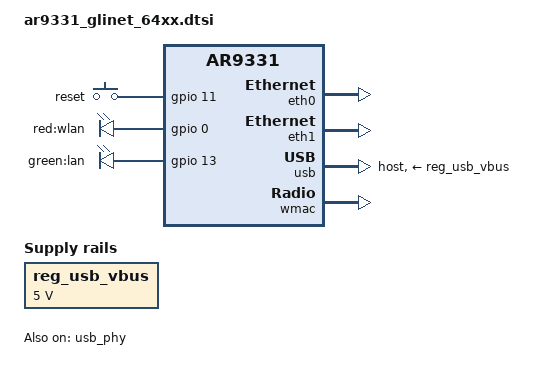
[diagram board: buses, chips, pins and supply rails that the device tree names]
// SPDX-License-Identifier: GPL-2.0-or-later OR MIT

#include "ar9331.dtsi"

#include <dt-bindings/gpio/gpio.h>
#include <dt-bindings/input/input.h>

/ {
	aliases {
		label-mac-device = &wmac;
	};

	keys {
		compatible = "gpio-keys";

		reset {
			label = "reset";
			linux,code = <KEY_RESTART>;
			gpios = <&gpio 11 GPIO_ACTIVE_HIGH>;
			debounce-interval = <60>;
		};
	};

	leds {
		compatible = "gpio-leds";

		wlan {
			label = "red:wlan";
			gpios = <&gpio 0 GPIO_ACTIVE_HIGH>;
			linux,default-trigger = "phy0tpt";
		};

		lan {
			label = "green:lan";
			gpios = <&gpio 13 GPIO_ACTIVE_HIGH>;
		};
	};

	reg_usb_vbus: reg_usb_vbus {
		compatible = "regulator-fixed";
		regulator-name = "usb_vbus";
		regulator-min-microvolt = <5000000>;
		regulator-max-microvolt = <5000000>;
		enable-active-high;
	};
};

&eth0 {
	status = "okay";

	nvmem-cells = <&macaddr_uboot_1fc00>;
	nvmem-cell-names = "mac-address";

	gmac-config {
		device = <&gmac>;

		switch-phy-addr-swap = <0>;
		switch-phy-swap = <0>;
	};
};

&eth1 {
	status = "okay";

	nvmem-cells = <&macaddr_uboot_1fc00>;
	nvmem-cell-names = "mac-address";
};

&usb {
	dr_mode = "host";
	vbus-supply = <&reg_usb_vbus>;
	status = "okay";
};

&usb_phy {
	status = "okay";
};

&wmac {
	status = "okay";

	mtd-cal-data = <&art 0x1000>;
	nvmem-cells = <&macaddr_uboot_1fc00>;
	nvmem-cell-names = "mac-address";
};

&uboot {
	compatible = "nvmem-cells";
	#address-cells = <1>;
	#size-cells = <1>;

	macaddr_uboot_1fc00: macaddr@1fc00 {
		reg = <0x1fc00 0x6>;
	};
};
